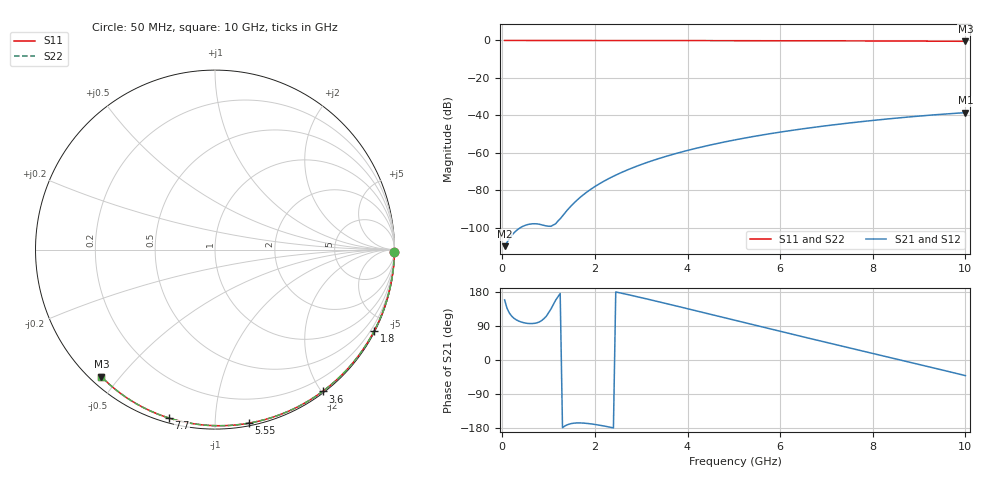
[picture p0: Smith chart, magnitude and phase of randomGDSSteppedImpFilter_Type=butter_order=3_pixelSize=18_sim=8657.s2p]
! freq	dB(S11)	phase(S11)	dB(S12)	phase(S12)
!  dB(S21)	phase(S21)	dB(S22)	phase(S22)
!S-par simulation data
#  GHz  S  DB  R 50
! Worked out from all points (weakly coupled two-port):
!   200 points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, 50 MHz to 10 GHz, reference 50 ohm
!   highest |S21| = -38.59 dB at 10 GHz (marker M1); lowest = -110.0 dB at 50 MHz (marker M2)
!   lowest |S11| = -0.4 dB at 10 GHz (marker M3), VSWR 38.85, Z = 1.54 - j22.3 ohm
!   |S11| at or under -10 dB: nowhere
!   |S22| runs from -0.4 to 0.0 dB; largest |S21 - S12| = 0
!   S11 on the Smith chart (normalised r, x): 50 MHz: open; 1.8 GHz: 0.04, -4.16; 3.6 GHz: 0.02, -2.01; 5.55 GHz: 0.02, -1.22; 7.7 GHz: 0.02, -0.76; 10 GHz: 0.03, -0.45
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0.05  -0.00 -0.8  -109.96 158.6  -109.96 158.6  -0.00 -0.8
0.9  -0.02 -13.6  -98.85 109.2  -98.85 109.2  -0.02 -13.6
1.75  -0.03 -26.3  -82.48 -166.5  -82.48 -166.5  -0.03 -26.3
1.8  -0.03 -27.0  -81.52 -167.0  -81.52 -167.0  -0.03 -27.0
1.85  -0.04 -27.8  -80.61 -167.6  -80.61 -167.6  -0.04 -27.8
1.9  -0.04 -28.5  -79.74 -168.3  -79.74 -168.3  -0.04 -28.5
2.05  -0.04 -30.7  -77.32 -171.0  -77.32 -171.0  -0.04 -30.7
2.25  -0.04 -33.6  -74.48 -175.4  -74.48 -175.4  -0.04 -33.6
2.45  -0.05 -36.5  -71.98 179.6  -71.98 179.6  -0.05 -36.5
2.65  -0.05 -39.4  -69.74 174.3  -69.74 174.3  -0.05 -39.4
3  -0.06 -44.4  -66.32 164.6  -66.32 164.6  -0.06 -44.4
3.4  -0.07 -50.0  -62.98 153.0  -62.98 153.0  -0.07 -50.1
3.6  -0.07 -52.8  -61.48 147.2  -61.48 147.2  -0.07 -52.9
4.3  -0.09 -62.4  -56.96 126.5  -56.96 126.5  -0.09 -62.5
5.05  -0.11 -72.4  -53.03 104.1  -53.03 104.1  -0.11 -72.5
5.55  -0.13 -78.9  -50.79 89.2  -50.79 89.2  -0.13 -78.9
6.1  -0.15 -85.9  -48.62 72.8  -48.62 72.8  -0.15 -85.9
6.7  -0.18 -93.3  -46.52 55.1  -46.52 55.1  -0.18 -93.4
7.7  -0.24 -105.3  -43.54 26.0  -43.54 26.0  -0.24 -105.4
8.35  -0.29 -113.0  -41.88 7.2  -41.88 7.2  -0.29 -113.0
9.15  -0.36 -122.2  -40.11 -16.1  -40.11 -16.1  -0.36 -122.2
10  -0.45 -131.8  -38.59 -41.2  -38.59 -41.2  -0.45 -131.9
